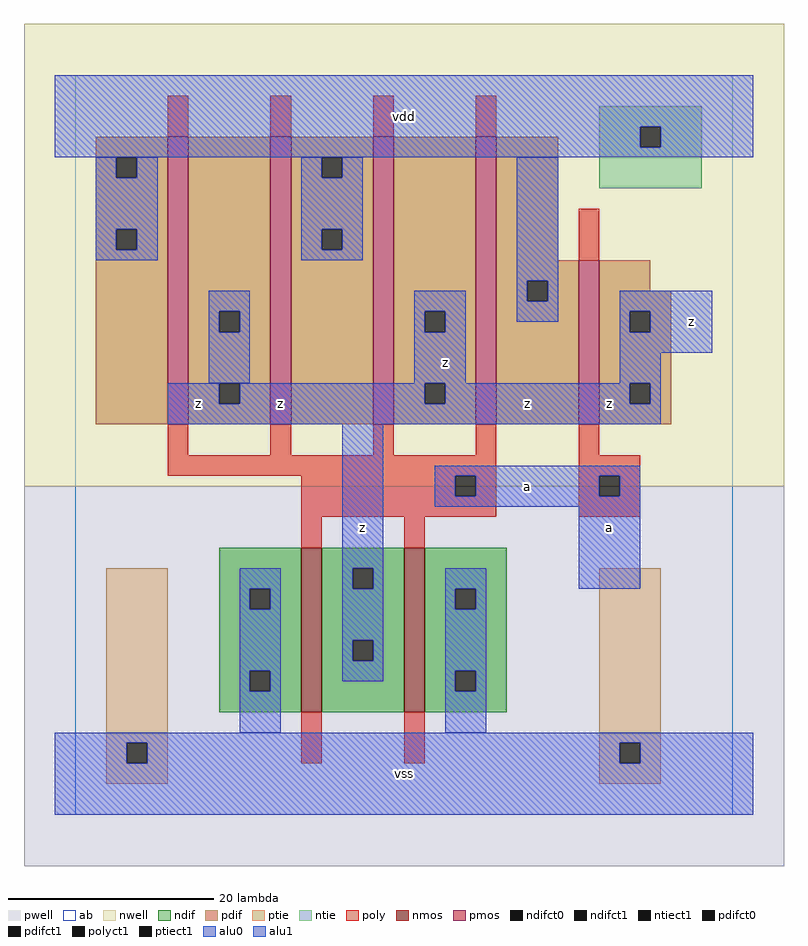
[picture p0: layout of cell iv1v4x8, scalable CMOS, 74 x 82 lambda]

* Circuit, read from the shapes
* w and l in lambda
.subckt iv1v4x8 a vdd vss z
M1 z a vss vss nfet w=16 l=2 m=2
M2 z a vdd vdd pfet w=28 l=2 m=4
M3 z a vdd vdd pfet w=16 l=2
.ends

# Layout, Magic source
magic
tech scmos
<< ab >>
rect 0 0 64 72
<< nwell >>
rect -5 32 69 77
<< pwell >>
rect -5 -5 69 32
<< poly >>
rect 9 66 11 70
rect 19 66 21 70
rect 29 66 31 70
rect 39 66 41 70
rect 49 54 51 59
rect 9 35 11 38
rect 19 35 21 38
rect 29 35 31 38
rect 39 35 41 38
rect 9 33 41 35
rect 22 31 37 33
rect 39 31 41 33
rect 22 29 41 31
rect 49 35 51 38
rect 49 33 55 35
rect 49 31 51 33
rect 53 31 55 33
rect 49 29 55 31
rect 22 26 24 29
rect 32 26 34 29
rect 22 5 24 10
rect 32 5 34 10
<< ndif >>
rect 14 22 22 26
rect 14 20 17 22
rect 19 20 22 22
rect 14 14 22 20
rect 14 12 17 14
rect 19 12 22 14
rect 14 10 22 12
rect 24 24 32 26
rect 24 22 27 24
rect 29 22 32 24
rect 24 17 32 22
rect 24 15 27 17
rect 29 15 32 17
rect 24 10 32 15
rect 34 22 42 26
rect 34 20 37 22
rect 39 20 42 22
rect 34 14 42 20
rect 34 12 37 14
rect 39 12 42 14
rect 34 10 42 12
<< pdif >>
rect 2 64 9 66
rect 2 62 4 64
rect 6 62 9 64
rect 2 57 9 62
rect 2 55 4 57
rect 6 55 9 57
rect 2 38 9 55
rect 11 49 19 66
rect 11 47 14 49
rect 16 47 19 49
rect 11 42 19 47
rect 11 40 14 42
rect 16 40 19 42
rect 11 38 19 40
rect 21 64 29 66
rect 21 62 24 64
rect 26 62 29 64
rect 21 57 29 62
rect 21 55 24 57
rect 26 55 29 57
rect 21 38 29 55
rect 31 49 39 66
rect 31 47 34 49
rect 36 47 39 49
rect 31 42 39 47
rect 31 40 34 42
rect 36 40 39 42
rect 31 38 39 40
rect 41 54 47 66
rect 41 52 49 54
rect 41 50 44 52
rect 46 50 49 52
rect 41 38 49 50
rect 51 51 56 54
rect 51 49 58 51
rect 51 47 54 49
rect 56 47 58 49
rect 51 42 58 47
rect 51 40 54 42
rect 56 40 58 42
rect 51 38 58 40
<< alu1 >>
rect -2 67 66 72
rect -2 65 55 67
rect 57 65 66 67
rect -2 64 66 65
rect 33 49 38 51
rect 33 47 34 49
rect 36 47 38 49
rect 53 49 62 51
rect 33 42 38 47
rect 53 47 54 49
rect 56 47 62 49
rect 53 45 62 47
rect 53 42 57 45
rect 9 40 14 42
rect 16 40 34 42
rect 36 40 54 42
rect 56 40 57 42
rect 9 38 57 40
rect 26 24 30 38
rect 35 33 55 34
rect 35 31 37 33
rect 39 31 51 33
rect 53 31 55 33
rect 35 30 55 31
rect 26 22 27 24
rect 29 22 30 24
rect 26 17 30 22
rect 26 15 27 17
rect 29 15 30 17
rect 26 13 30 15
rect 49 22 55 30
rect -2 7 66 8
rect -2 5 5 7
rect 7 5 53 7
rect 55 5 66 7
rect -2 0 66 5
<< ptie >>
rect 3 7 9 24
rect 3 5 5 7
rect 7 5 9 7
rect 51 7 57 24
rect 51 5 53 7
rect 55 5 57 7
rect 3 3 9 5
rect 51 3 57 5
<< ntie >>
rect 51 67 61 69
rect 51 65 55 67
rect 57 65 61 67
rect 51 61 61 65
<< nmos >>
rect 22 10 24 26
rect 32 10 34 26
<< pmos >>
rect 9 38 11 66
rect 19 38 21 66
rect 29 38 31 66
rect 39 38 41 66
rect 49 38 51 54
<< polyct1 >>
rect 37 31 39 33
rect 51 31 53 33
<< ndifct0 >>
rect 17 20 19 22
rect 17 12 19 14
rect 37 20 39 22
rect 37 12 39 14
<< ndifct1 >>
rect 27 22 29 24
rect 27 15 29 17
<< ntiect1 >>
rect 55 65 57 67
<< ptiect1 >>
rect 5 5 7 7
rect 53 5 55 7
<< pdifct0 >>
rect 4 62 6 64
rect 4 55 6 57
rect 14 47 16 49
rect 24 62 26 64
rect 24 55 26 57
rect 44 50 46 52
<< pdifct1 >>
rect 14 40 16 42
rect 34 47 36 49
rect 34 40 36 42
rect 54 47 56 49
rect 54 40 56 42
<< alu0 >>
rect 2 62 4 64
rect 6 62 8 64
rect 2 57 8 62
rect 2 55 4 57
rect 6 55 8 57
rect 2 54 8 55
rect 22 62 24 64
rect 26 62 28 64
rect 22 57 28 62
rect 22 55 24 57
rect 26 55 28 57
rect 22 54 28 55
rect 43 52 47 64
rect 13 49 17 51
rect 13 47 14 49
rect 16 47 17 49
rect 13 42 17 47
rect 43 50 44 52
rect 46 50 47 52
rect 43 48 47 50
rect 16 22 20 24
rect 16 20 17 22
rect 19 20 20 22
rect 16 14 20 20
rect 16 12 17 14
rect 19 12 20 14
rect 36 22 40 24
rect 36 20 37 22
rect 39 20 40 22
rect 36 14 40 20
rect 16 8 20 12
rect 36 12 37 14
rect 39 12 40 14
rect 36 8 40 12
<< labels >>
rlabel alu1 12 40 12 40 6 z
rlabel alu1 28 28 28 28 6 z
rlabel alu1 20 40 20 40 6 z
rlabel alu1 32 4 32 4 6 vss
rlabel alu1 44 32 44 32 6 a
rlabel alu1 44 40 44 40 6 z
rlabel alu1 36 44 36 44 6 z
rlabel alu1 32 68 32 68 6 vdd
rlabel alu1 52 28 52 28 6 a
rlabel alu1 52 40 52 40 6 z
rlabel alu1 60 48 60 48 6 z
<< end >>
